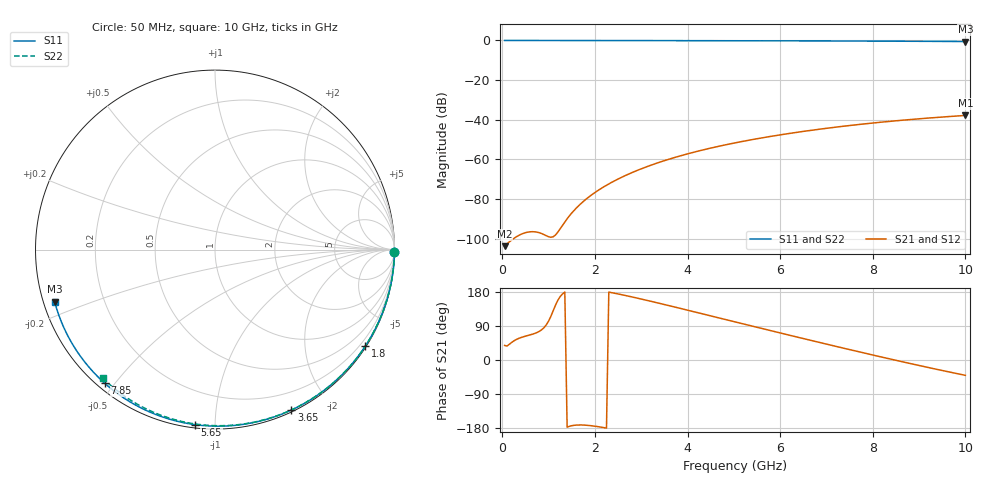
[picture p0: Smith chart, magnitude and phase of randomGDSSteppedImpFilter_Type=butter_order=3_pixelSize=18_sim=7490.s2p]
! freq	dB(S11)	phase(S11)	dB(S12)	phase(S12)
!  dB(S21)	phase(S21)	dB(S22)	phase(S22)
!S-par simulation data
#  GHz  S  DB  R 50
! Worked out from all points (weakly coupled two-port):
!   200 points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, 50 MHz to 10 GHz, reference 50 ohm
!   highest |S21| = -37.81 dB at 10 GHz (marker M1); lowest = -103.7 dB at 50 MHz (marker M2)
!   lowest |S11| = -0.5 dB at 10 GHz (marker M3), VSWR 31.95, Z = 1.6 - j7.93 ohm
!   |S11| at or under -10 dB: nowhere
!   |S22| runs from -0.4 to 0.0 dB; largest |S21 - S12| = 0
!   S11 on the Smith chart (normalised r, x): 50 MHz: open; 1.8 GHz: 0.03, -3.41; 3.65 GHz: 0.02, -1.58; 5.65 GHz: 0.02, -0.89; 7.85 GHz: 0.02, -0.47; 10 GHz: 0.03, -0.16
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0.05  -0.00 -0.9  -103.70 38.5  -103.70 38.5  -0.00 -0.8
0.45  -0.01 -8.3  -97.27 61.1  -97.27 61.1  -0.01 -6.8
0.85  -0.02 -15.6  -97.33 79.8  -97.33 79.8  -0.02 -12.8
1.3  -0.03 -23.8  -93.17 174.3  -93.17 174.3  -0.02 -19.5
1.75  -0.04 -31.8  -81.16 -171.6  -81.16 -171.6  -0.03 -26.1
1.8  -0.04 -32.7  -80.18 -172.0  -80.18 -172.0  -0.03 -26.9
2  -0.05 -36.3  -76.66 -174.7  -76.66 -174.7  -0.04 -29.8
2.15  -0.05 -38.9  -74.37 -177.5  -74.37 -177.5  -0.04 -32.0
2.5  -0.06 -45.0  -69.85 174.4  -69.85 174.4  -0.05 -37.0
2.9  -0.07 -51.9  -65.64 163.7  -65.64 163.7  -0.06 -42.7
3.4  -0.08 -60.4  -61.35 149.4  -61.35 149.4  -0.07 -49.8
3.65  -0.09 -64.6  -59.50 142.0  -59.50 142.0  -0.07 -53.2
4.3  -0.11 -75.2  -55.37 122.5  -55.37 122.5  -0.09 -62.1
5.05  -0.13 -87.2  -51.51 99.9  -51.51 99.9  -0.11 -72.0
5.65  -0.16 -96.5  -48.93 81.8  -48.93 81.8  -0.13 -79.8
6.15  -0.19 -104.1  -47.05 66.9  -47.05 66.9  -0.15 -86.1
6.7  -0.22 -112.4  -45.20 50.7  -45.20 50.7  -0.18 -92.8
7.25  -0.26 -120.6  -43.56 34.6  -43.56 34.6  -0.21 -99.5
7.85  -0.31 -129.5  -41.98 17.4  -41.98 17.4  -0.25 -106.6
8.35  -0.35 -136.9  -40.81 3.3  -40.81 3.3  -0.29 -112.4
9.2  -0.44 -149.6  -39.12 -19.9  -39.12 -19.9  -0.36 -122.1
10  -0.54 -162.0  -37.81 -40.5  -37.81 -40.5  -0.45 -131.1
